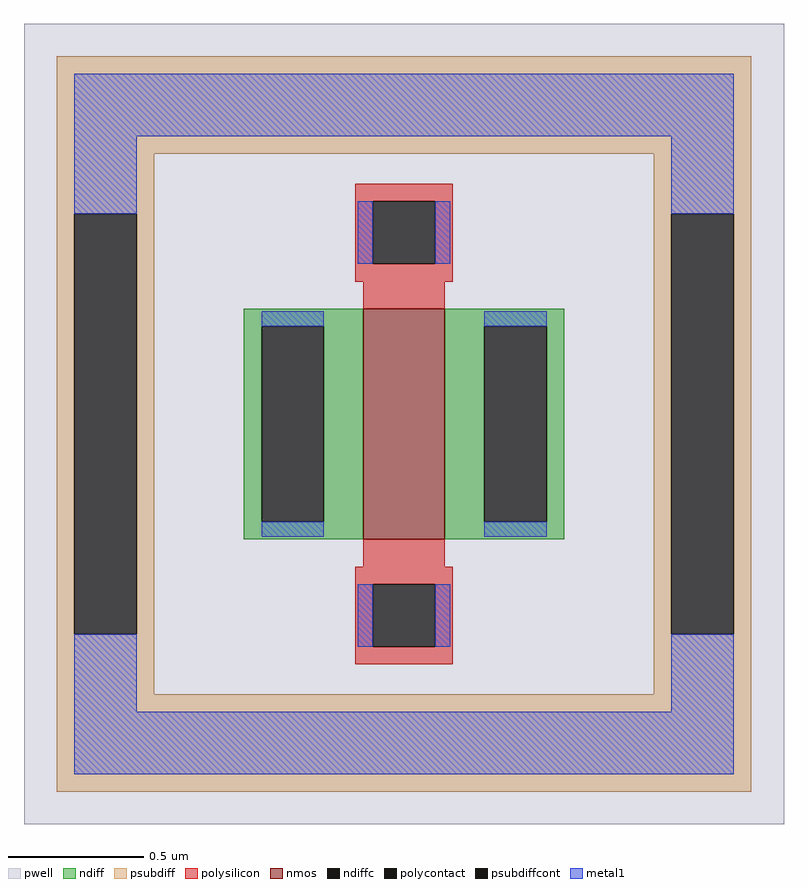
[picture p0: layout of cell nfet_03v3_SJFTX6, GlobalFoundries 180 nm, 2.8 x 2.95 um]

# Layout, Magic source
magic
tech gf180mcuD
magscale 1 10
<< pwell >>
rect -280 -295 280 295
<< nmos >>
rect -30 -85 30 85
<< ndiff >>
rect -118 72 -30 85
rect -118 -72 -105 72
rect -59 -72 -30 72
rect -118 -85 -30 -72
rect 30 72 118 85
rect 30 -72 59 72
rect 105 -72 118 72
rect 30 -85 118 -72
<< ndiffc >>
rect -105 -72 -59 72
rect 59 -72 105 72
<< psubdiff >>
rect -256 199 256 271
rect -256 155 -184 199
rect -256 -155 -243 155
rect -197 -155 -184 155
rect 184 155 256 199
rect -256 -199 -184 -155
rect 184 -155 197 155
rect 243 -155 256 155
rect 184 -199 256 -155
rect -256 -271 256 -199
<< psubdiffcont >>
rect -243 -155 -197 155
rect 197 -155 243 155
<< polysilicon >>
rect -36 164 36 177
rect -36 118 -23 164
rect 23 118 36 164
rect -36 105 36 118
rect -30 85 30 105
rect -30 -105 30 -85
rect -36 -118 36 -105
rect -36 -164 -23 -118
rect 23 -164 36 -118
rect -36 -177 36 -164
<< polycontact >>
rect -23 118 23 164
rect -23 -164 23 -118
<< metal1 >>
rect -243 212 243 258
rect -243 155 -197 212
rect -34 118 -23 164
rect 23 118 34 164
rect 197 155 243 212
rect -105 72 -59 83
rect -105 -83 -59 -72
rect 59 72 105 83
rect 59 -83 105 -72
rect -243 -212 -197 -155
rect -34 -164 -23 -118
rect 23 -164 34 -118
rect 197 -212 243 -155
rect -243 -258 243 -212
<< properties >>
string FIXED_BBOX -220 -235 220 235
string gencell nfet_03v3
string library gf180mcu
string parameters w 0.85 l 0.3 m 1 nf 1 diffcov 100 polycov 100 guard 1 glc 1 grc 1 gtc 0 gbc 0 tbcov 100 rlcov 100 topc 1 botc 1 poverlap 0 doverlap 1 lmin 0.28 wmin 0.22 class mosfet full_metal 1 compatible {nfet_03v3 nfet_05v0 nfet_06v0 nfet_06v0_nvt} ad {int((nf+1)/2) * W/nf * 0.18u} as {int((nf+2)/2) * W/nf * 0.18u} pd {2*int((nf+1)/2) * (W/nf + 0.18u)} ps {2*int((nf+2)/2) * (W/nf + 0.18u)} nrd {0.18u / W} nrs {0.18u / W} sa 0 sb 0 sd 0
<< end >>
